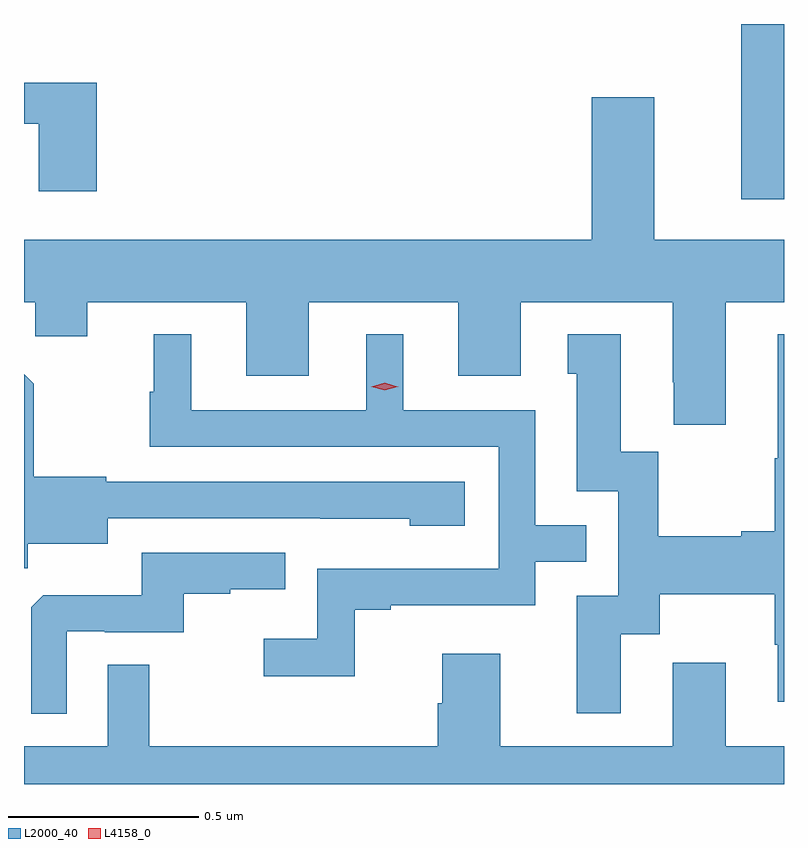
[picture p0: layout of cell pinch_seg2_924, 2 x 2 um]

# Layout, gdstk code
import gdstk
lib = gdstk.Library(unit=1e-6, precision=1e-09)
def R(c, l, rs):  # rectangles x0, y0, x1, y1
    for r in rs: c.add(gdstk.rectangle(r[:2], r[2:], *l))
def P(c, l, *ps):  # polygons
    for p in ps: c.add(gdstk.Polygon(p, *l))
L2000_40 = (2000, 40)
L4158_0 = (4158, 0)

pinch_seg2_924 = lib.new_cell('pinch_seg2_924')
R(pinch_seg2_924, L2000_40, [(453.113,661.227,453.226,661.688)])
P(pinch_seg2_924, L2000_40, [(451.418,661.534),(451.226,661.534),(451.226,661.425),(451.265,661.425),(451.265,661.248),(451.418,661.248)],
  [(453.073,660.956),(453.226,660.956),(453.226,661.12),(452.884,661.12),(452.884,661.495),(452.72,661.495),(452.72,661.12),(451.226,661.12),(451.226,660.956),(451.255,660.956),(451.255,660.866),(451.393,660.866),(451.393,660.956),(451.811,660.956),(451.811,660.762),(451.975,660.762),(451.975,660.956),(452.369,660.956),(452.369,660.762),(452.533,660.762),(452.533,660.956),(452.933,660.956),(452.933,660.745),(452.936,660.745),(452.936,660.633),(453.073,660.633)],
  [(452.797,660.082),(452.899,660.082),(452.899,660.188),(453.202,660.188),(453.202,660.054),(453.209,660.054),(453.209,659.904),(453.226,659.904),(453.226,660.871),(453.209,660.871),(453.209,660.545),(453.202,660.545),(453.202,660.353),(453.113,660.353),(453.113,660.34),(452.895,660.34),(452.895,660.563),(452.797,660.563),(452.797,660.871),(452.657,660.871),(452.657,660.768),(452.681,660.768),(452.681,660.459),(452.79,660.459),(452.79,660.183),(452.681,660.183),(452.681,659.874),(452.797,659.874)],
  [(452.097,660.147),(452.191,660.147),(452.191,660.159),(452.571,660.159),(452.571,660.273),(452.705,660.273),(452.705,660.369),(452.571,660.369),(452.571,660.672),(452.224,660.672),(452.224,660.871),(452.126,660.871),(452.126,660.672),(451.666,660.672),(451.666,660.871),(451.568,660.871),(451.568,660.72),(451.557,660.72),(451.557,660.576),(452.475,660.576),(452.475,660.255),(451.998,660.255),(451.998,660.07),(451.857,660.07),(451.857,659.972),(452.097,659.972)],
  [(451.236,660.32),(451.447,660.32),(451.447,660.387),(452.005,660.387),(452.005,660.386),(452.241,660.386),(452.241,660.368),(452.386,660.368),(452.386,660.483),(451.443,660.483),(451.443,660.496),(451.251,660.496),(451.251,660.741),(451.226,660.766),(451.226,660.256),(451.236,660.256)],
  [(451.338,660.09),(451.438,660.09),(451.438,660.087),(451.646,660.087),(451.646,660.189),(451.769,660.189),(451.769,660.2),(451.913,660.2),(451.913,660.297),(451.536,660.297),(451.536,660.185),(451.277,660.185),(451.245,660.153),(451.245,659.873),(451.338,659.873)],
  [(453.226,659.788),(453.073,659.788),(453.073,660.007),(452.933,660.007),(452.933,659.788),(452.479,659.788),(452.479,660.031),(452.327,660.031),(452.327,659.901),(452.315,659.901),(452.315,659.788),(451.555,659.788),(451.555,660.002),(451.446,660.002),(451.446,659.788),(451.226,659.788),(451.226,659.688),(453.226,659.688)])
P(pinch_seg2_924, L4158_0, [(452.175,660.724),(452.14,660.734),(452.139,660.734),(452.14,660.734),(452.175,660.744),(452.21,660.734),(452.211,660.734),(452.21,660.733)])

lib.write_gds('pinch_seg2_924.gds')
